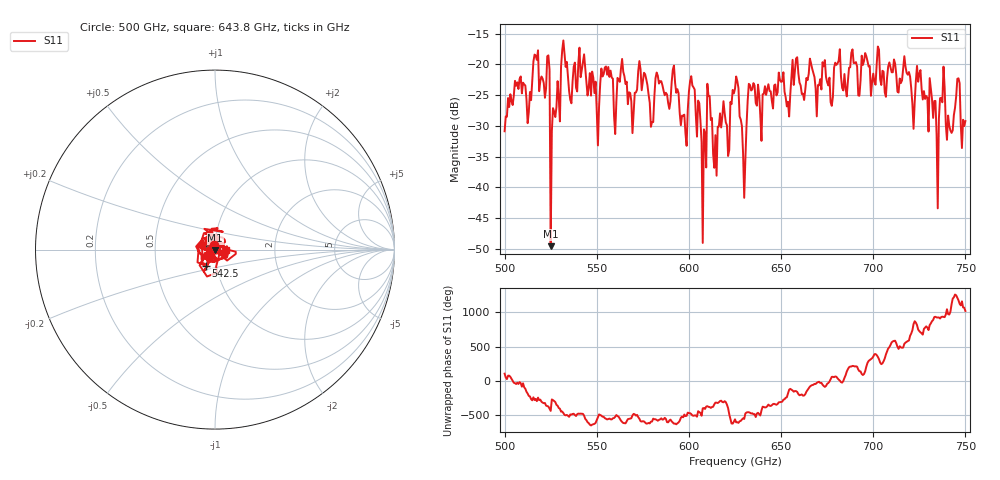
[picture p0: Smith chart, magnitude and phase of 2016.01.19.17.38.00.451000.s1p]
!Created with skrf (http://scikit-rf.org).
# GHz S RI R 50.0
!freq ReS11 ImS11
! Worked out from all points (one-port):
!   401 points, 500 GHz to 750 GHz, reference 50 ohm
!   lowest |S11| = -49.6 dB at 525 GHz (marker M1), VSWR 1.01, Z = 50.1 - j0.322 ohm
!   |S11| at or under -10 dB: start of sweep to end of sweep
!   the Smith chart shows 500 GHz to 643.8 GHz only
!   S11 on the Smith chart (normalised r, x): 500 GHz: 0.98, +0.05; 542.5 GHz: 0.89, -0.16; 643.8 GHz: 1.13, +0.00
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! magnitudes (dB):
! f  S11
! 500 GHz  -30.9
! 506.9 GHz  -22.9
! 513.1 GHz  -27.8
! 516.9 GHz  -18.6
! 523.1 GHz  -18.7
! 525 GHz  -49.6
! 526.2 GHz  -27.1
! 531.2 GHz  -17.7
! 542.5 GHz  -19.6
! 550 GHz  -27.7
! 562.5 GHz  -22.9
! 568.8 GHz  -26.0
! 593.8 GHz  -24.0
! 597.5 GHz  -28.2
! 601.9 GHz  -23.5
! 608.1 GHz  -30.6
! 611.2 GHz  -25.2
! 614.4 GHz  -31.5
! 625 GHz  -24.0
! 630 GHz  -41.7
! 633.8 GHz  -24.3
! 643.8 GHz  -24.3
! 656.2 GHz  -19.3
! 687.5 GHz  -20.5
! 718.8 GHz  -21.7
! 733.8 GHz  -26.0
! 737.5 GHz  -26.2
! 750 GHz  -29.2
